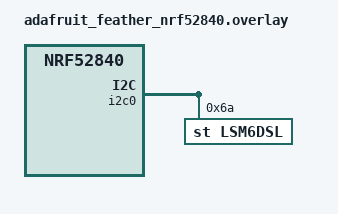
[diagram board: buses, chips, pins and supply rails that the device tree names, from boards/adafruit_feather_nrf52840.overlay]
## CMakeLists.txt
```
cmake_minimum_required(VERSION 3.13.1)
find_package(Zephyr REQUIRED HINTS $ENV{ZEPHYR_BASE})

project(gizmo LANGUAGES C)

target_sources(app PRIVATE src/main.c)
```

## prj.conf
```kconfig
CONFIG_SENSOR=y
CONFIG_GIZMO=y
```

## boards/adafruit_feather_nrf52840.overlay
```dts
&i2c0 {
    compatible = "nordic,nrf-twi";
    status = "okay";
    pinctrl-0 = <&i2c0_default>;
    pinctrl-1 = <&i2c0_sleep>;
    pinctrl-names = "default", "sleep";

    lsm6dsl: lsm6dsl@6a {
        status = "okay";
        compatible = "st,lsm6dsl";
        reg = <0x6a>;

    };

};
```

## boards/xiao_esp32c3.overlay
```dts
&twai {
	status = "disabled"; // CAN bad >:(
};

&i2c0 {
	status = "okay";
	clock-frequency = <I2C_BITRATE_STANDARD>;
	pinctrl-0 = <&i2c0_default>;
	pinctrl-names = "default";

    lsm6dsl: lsm6dsl@6a {
		status = "okay";
		compatible = "st,lsm6dsl";
		reg = <0x6a>;

	};
};

&spi2 {
	#address-cells = <1>;
	#size-cells = <0>;
	status = "okay";
	pinctrl-0 = <&spim2_default>;
	pinctrl-names = "default";

	// TODO: Figure out display and how to configure in DTS
//	st7735r: st7735r@0 {
//		status = "okay";
//		compatible = "sitronix,st7735r";
//		reg = <0>;
//
////		cmd-data-gpios = <&gpio0 0 0>;
//		x-offset = <0>;
//		y-offset = <0>;
//	};
};

&uart0 {
	status = "okay";
	current-speed = <115200>;
	pinctrl-0 = <&uart0_default>;
	pinctrl-names = "default";

	// TODO: Check Zephyr support for ultrasonic sensors
};

// TODO: PWM
```

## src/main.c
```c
/*
 * Copyright (c) 2024 Aaron Chan
 * SPDX-License-Identifier: GPL-3.0
 */

#include <app_version.h>

#include <zephyr/kernel.h>
#include <zephyr/drivers/sensor.h>

#include <zephyr/logging/log.h>


LOG_MODULE_REGISTER(main, CONFIG_APP_LOG_LEVEL);

int main(void)
{
	return 0;
}
```
